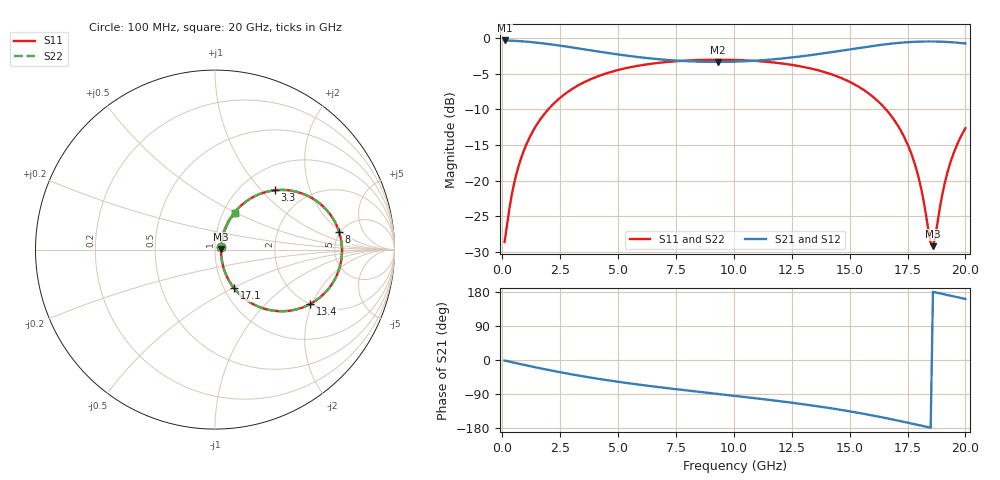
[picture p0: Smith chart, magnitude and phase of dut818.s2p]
! Touchstone file exported from HFSS 2026.1.0
!  File:  C:/ffzhzh/LocalFiles/Ansys_Project_Files/temp_train_TSV_RDL_818_1783265083_38704.aedt
!  Generated:  11:36:16 PM Jul  5, 2026
!  Design:  TSV_RDL
!  Project:  temp_train_TSV_RDL_818_1783265083_38704
! Variables:
!  h_bsmrdl = 2.3um
!  h_ox = 20um
!  h_rdl = 5um
!  h_sub = 61.3um
!  h_tmrdl = 2.73um
!  h_tsv = 61.3um
!  h_via = 3um
!  l_bsmrdl = 780.33um
!  l_sub = 3376.11um
!  l_tmrdl = 136.22um
!  m_sub = 200um
!  pitch = 58.34um
!  r_tsv = 7.93um
!  s_tmrdl = 10um
!  w_bsmrdl = 12.83um
!  w_sub = 500um
!  w_tmrdl = 17.25um
!  x_tsv_center1 = 144.845um
!  x_tsv_center2 = 938.005um
!  x_tsv_center3 = 1091.475um
!  x_tsv_center4 = 1884.635um
!  x_tsv_center5 = 2038.105um
!  x_tsv_center6 = 2831.265um
# GHz S MA R 50.000000
! Terminal data exported
! Port[1] = TM_RDL1_1_T1
! Port[2] = TM_RDL5_1_T1
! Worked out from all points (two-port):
!   200 points, 100 MHz to 20 GHz, reference 50 ohm
!   highest |S21| = -0.29 dB at 100 MHz (marker M1); lowest = -3.3 dB at 9.3 GHz (marker M2)
!   |S21| within 3 dB of the highest: start of sweep to 8.711 GHz; 9.797 GHz to end of sweep
!   lowest |S11| = -29.2 dB at 18.6 GHz (marker M3), VSWR 1.07, Z = 53.6 + j0.394 ohm
!   |S11| at or under -10 dB: start of sweep to 1.981 GHz; 16.57 GHz to end of sweep
!   |S22| runs from -29.2 to -3.0 dB; largest |S21 - S12| = 1.7e-14
!   S11 on the Smith chart (normalised r, x): 100 MHz: 1.07, +0.04; 3.3 GHz: 1.41, +1.19; 8 GHz: 4.93, +1.85; 13.4 GHz: 2.00, -1.93; 17.1 GHz: 1.12, -0.51; 20 GHz: 1.13, +0.49
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0.1  0.037 27.3  0.9674 -1.4  0.9674 -1.4  0.037 27.3
! Gamma 0 0 0 0
! Port Impedance 50 0 50 0
0.5  0.09371 61.8  0.9623 -7.0  0.9623 -7.0  0.09371 61.8
1.1  0.1886 64.1  0.9468 -15.0  0.9468 -15.0  0.1886 64.1
2  0.3188 57.2  0.9125 -26.4  0.9125 -26.4  0.3188 57.2
3.3  0.4695 44.7  0.8498 -41.2  0.8498 -41.2  0.4695 44.7
3.5  0.4885 42.9  0.8398 -43.3  0.8398 -43.3  0.4885 42.9
4.9  0.5936 30.6  0.7751 -56.6  0.7751 -56.6  0.5936 30.6
6.8  0.6744 16.1  0.7126 -71.9  0.7126 -71.9  0.6744 16.1
8  0.6991 7.9  0.691 -80.5  0.691 -80.5  0.6991 7.9
9.3  0.7079 -0.7  0.6835 -89.5  0.6835 -89.5  0.7079 -0.7
10.1  0.7047 -6.0  0.6869 -95.0  0.6869 -95.0  0.7047 -6.0
13.4  0.61 -29.9  0.766 -120.2  0.766 -120.2  0.61 -29.8
15.3  0.4661 -46.7  0.8517 -138.6  0.8517 -138.6  0.4661 -46.7
16.7  0.2984 -60.3  0.9149 -154.9  0.9149 -154.9  0.2984 -60.3
17.1  0.2409 -63.7  0.9291 -160.0  0.9291 -160.0  0.2409 -63.7
17.9  0.1173 -65.2  0.948 -170.6  0.948 -170.6  0.1174 -65.2
18.2  0.0713 -57.5  0.9511 -174.7  0.9511 -174.7  0.07133 -57.4
18.5  0.03634 -19.8  0.9519 -178.8  0.9519 -178.8  0.03638 -19.8
18.6  0.03451 6.1  0.9516 179.9  0.9516 179.9  0.03454 6.1
19.2  0.11 62.5  0.9444 171.7  0.9444 171.7  0.11 62.5
19.6  0.1725 64.0  0.9347 166.4  0.9347 166.4  0.1725 64.0
20  0.2333 61.9  0.9215 161.1  0.9215 161.1  0.2333 61.9
